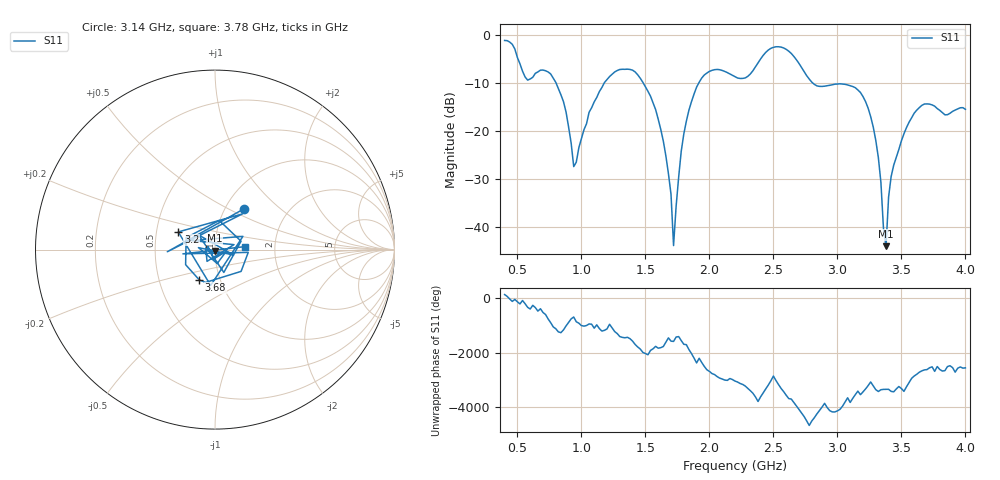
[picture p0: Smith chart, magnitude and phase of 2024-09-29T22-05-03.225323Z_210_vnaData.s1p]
!Created with skrf (http://scikit-rf.org).
# Hz S RI R 50.0
!freq ReS11 ImS11
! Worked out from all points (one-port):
!   181 points, 400 MHz to 4 GHz, reference 50 ohm
!   lowest |S11| = -44.1 dB at 3.38 GHz (marker M1), VSWR 1.01, Z = 49.8 - j0.583 ohm
!   |S11| at or under -10 dB: 801.2 MHz to 1.179 GHz (377.9 MHz wide, 38.2 % of centre); 1.482 GHz to 1.918 GHz (435.9 MHz wide, 25.6 % of centre); 2.806 GHz to end of sweep
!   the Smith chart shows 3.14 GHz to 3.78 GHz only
!   S11 on the Smith chart (normalised r, x): 3.14 GHz: 1.23, +0.61; 3.2 GHz: 0.65, +0.13; 3.68 GHz: 0.80, -0.28; 3.78 GHz: 1.41, +0.05
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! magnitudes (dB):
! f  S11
! 400 MHz  -1.2
! 580 MHz  -9.4
! 740 MHz  -7.7
! 860 MHz  -13.9
! 940 MHz  -27.5
! 1.06 GHz  -16.2
! 1.3 GHz  -7.2
! 1.58 GHz  -15.6
! 1.68 GHz  -29.0
! 1.7 GHz  -33.2
! 1.72 GHz  -44.0
! 1.76 GHz  -29.6
! 1.82 GHz  -18.0
! 1.92 GHz  -9.9
! 2.2 GHz  -8.7
! 2.5 GHz  -2.6
! 2.66 GHz  -4.5
! 2.84 GHz  -10.6
! 3.1 GHz  -10.6
! 3.14 GHz  -11.0
! 3.2 GHz  -12.9
! 3.3 GHz  -22.0
! 3.38 GHz  -44.1
! 3.42 GHz  -29.5
! 3.56 GHz  -18.2
! 3.68 GHz  -14.4
! 3.78 GHz  -15.4
! 4 GHz  -15.5
